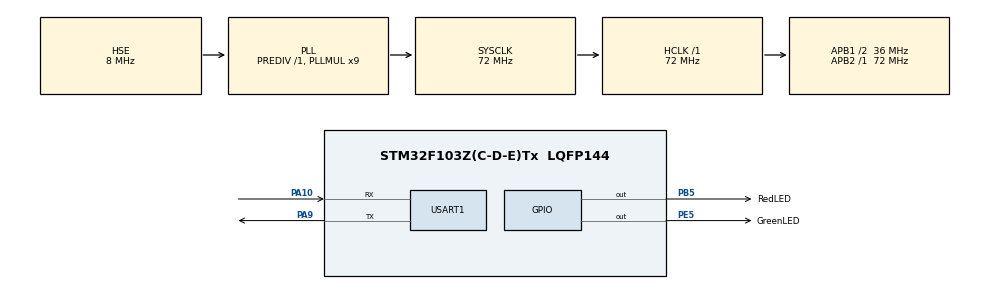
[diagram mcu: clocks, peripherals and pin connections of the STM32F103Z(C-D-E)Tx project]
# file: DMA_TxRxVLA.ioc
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Dma.Request0=USART1_TX
Dma.Request1=USART1_RX
Dma.USART1_RX.1.Direction=DMA_PERIPH_TO_MEMORY
Dma.USART1_RX.1.Instance=DMA1_Channel5
Dma.USART1_RX.1.MemDataAlignment=DMA_MDATAALIGN_BYTE
Dma.USART1_RX.1.MemInc=DMA_MINC_ENABLE
Dma.USART1_RX.1.Mode=DMA_NORMAL
Dma.USART1_RX.1.PeriphDataAlignment=DMA_PDATAALIGN_BYTE
Dma.USART1_RX.1.PeriphInc=DMA_PINC_DISABLE
Dma.USART1_RX.1.Priority=DMA_PRIORITY_LOW
Dma.USART1_TX.0.Direction=DMA_MEMORY_TO_PERIPH
Dma.USART1_TX.0.Instance=DMA1_Channel4
Dma.USART1_TX.0.MemDataAlignment=DMA_MDATAALIGN_BYTE
Dma.USART1_TX.0.MemInc=DMA_MINC_ENABLE
Dma.USART1_TX.0.Mode=DMA_NORMAL
Dma.USART1_TX.0.PeriphDataAlignment=DMA_PDATAALIGN_BYTE
Dma.USART1_TX.0.PeriphInc=DMA_PINC_DISABLE
Dma.USART1_TX.0.Priority=DMA_PRIORITY_LOW
Mcu.Family=STM32F1
Mcu.Name=STM32F103Z(C-D-E)Tx
Mcu.Package=LQFP144
NVIC.DMA1_Channel4_IRQn=true\:0\:0\:false\:false\:true\:false\:true\:true
NVIC.DMA1_Channel5_IRQn=true\:0\:0\:false\:false\:true\:false\:true\:true
NVIC.PriorityGroup=NVIC_PRIORITYGROUP_4
NVIC.USART1_IRQn=true\:0\:0\:false\:false\:true\:false\:true\:true
OSC_IN.Mode=HSE-External-Oscillator
OSC_IN.Signal=RCC_OSC_IN
OSC_OUT.Mode=HSE-External-Oscillator
OSC_OUT.Signal=RCC_OSC_OUT
PA10.Mode=Asynchronous
PA10.Signal=USART1_RX
PA13.Mode=Serial_Wire
PA13.Signal=SYS_JTMS-SWDIO
PA14.Mode=Serial_Wire
PA14.Signal=SYS_JTCK-SWCLK
PA9.Mode=Asynchronous
PA9.Signal=USART1_TX
PB5.GPIO_Label=RedLED
PB5.PinState=GPIO_PIN_SET
PB5.Signal=GPIO_Output
PE5.GPIO_Label=GreenLED
PE5.PinState=GPIO_PIN_SET
PE5.Signal=GPIO_Output
ProjectManager.HeapSize=0x200
ProjectManager.StackSize=0x400
ProjectManager.TargetToolchain=CMake
RCC.AHBFreq_Value=72000000
RCC.APB1CLKDivider=RCC_HCLK_DIV2
RCC.APB1Freq_Value=36000000
RCC.APB1TimFreq_Value=72000000
RCC.APB2Freq_Value=72000000
RCC.APB2TimFreq_Value=72000000
RCC.HCLKFreq_Value=72000000
RCC.PLLMUL=RCC_PLL_MUL9
RCC.PLLSourceVirtual=RCC_PLLSOURCE_HSE
RCC.SYSCLKFreq_VALUE=72000000
RCC.SYSCLKSource=RCC_SYSCLKSOURCE_PLLCLK
RCC.USBFreq_Value=72000000
USART1.VirtualMode=VM_ASYNC
board=custom

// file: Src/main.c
/* USER CODE BEGIN Header */
/**
 ******************************************************************************
 * @file           : main.c
 * @brief          : Main program body
 ******************************************************************************
 * @attention
 *
 * Copyright (c) 2025 STMicroelectronics.
 * All rights reserved.
 *
 * This software is licensed under terms that can be found in the LICENSE file
 * in the root directory of this software component.
 * If no LICENSE file comes with this software, it is provided AS-IS.
 *
 ******************************************************************************
 */
/* USER CODE END Header */
#include "main.h"

#include "dma.h"
#include "gpio.h"
#include "usart.h"

/* USER CODE BEGIN PM */
// Declare the DMA handle for USART1 RX
extern DMA_HandleTypeDef hdma_usart1_rx;
/* USER CODE END PM */

/* USER CODE BEGIN PV */
char msg[2];
uint8_t receiveData[100];
/* USER CODE END PV */

void SystemClock_Config(void);

/* USER CODE BEGIN 0 */
void HAL_UART_RxCpltCallback(UART_HandleTypeDef* huart) {
    if (huart->Instance == USART1) {
        HAL_UART_Transmit_DMA(&huart1, (uint8_t*) msg, sizeof(msg));
        // msg[0] = 'R' or 'G', msg[1] = '0' or '1'
        GPIO_PinState state = GPIO_PIN_RESET;
        if (msg[1] == '0') {
            state = GPIO_PIN_SET;
        }
        switch (msg[0]) {
            case 'R': HAL_GPIO_WritePin(RedLED_GPIO_Port, RedLED_Pin, state); break;
            case 'G': HAL_GPIO_WritePin(GreenLED_GPIO_Port, GreenLED_Pin, state); break;
            default: break;
        }
        HAL_UART_Receive_DMA(&huart1, (uint8_t*) msg, sizeof(msg));
    }
}

void HAL_UARTEx_RxEventCallback(UART_HandleTypeDef* huart, uint16_t Size) {
    if (huart == &huart1) {
        HAL_UART_Transmit_DMA(&huart1, receiveData, Size);

        HAL_UARTEx_ReceiveToIdle_DMA(&huart1, receiveData, sizeof(receiveData));

        // DMA 传输过半中断也会触发 RxEventCallback 回调函数
        // 可以考虑关闭 DMA 传输过半中断
        __HAL_DMA_DISABLE_IT(&hdma_usart1_rx, DMA_IT_HT);
    }
}
/* USER CODE END 0 */

int main(void) {

    /* MCU Configuration--------------------------------------------------------*/

    /* Reset of all peripherals, Initializes the Flash interface and the Systick. */
    HAL_Init();

    /* Configure the system clock */
    SystemClock_Config();

    /* Initialize all configured peripherals */
    MX_GPIO_Init();
    MX_DMA_Init();
    MX_USART1_UART_Init();
    /* USER CODE BEGIN 2 */
    // HAL_UART_Receive_DMA(&huart1, (uint8_t*) msg, sizeof(msg));
    HAL_UARTEx_ReceiveToIdle_DMA(&huart1, receiveData, sizeof(receiveData));
    __HAL_DMA_DISABLE_IT(&hdma_usart1_rx, DMA_IT_HT);
    /* USER CODE END 2 */

    /* Infinite loop */
    while (1) {

    }
}

void SystemClock_Config(void) {
    RCC_OscInitTypeDef RCC_OscInitStruct = {0};
    RCC_ClkInitTypeDef RCC_ClkInitStruct = {0};

    /** Initializes the RCC Oscillators according to the specified parameters
     * in the RCC_OscInitTypeDef structure.
     */
    RCC_OscInitStruct.OscillatorType = RCC_OSCILLATORTYPE_HSE;
    RCC_OscInitStruct.HSEState = RCC_HSE_ON;
    RCC_OscInitStruct.HSEPredivValue = RCC_HSE_PREDIV_DIV1;
    RCC_OscInitStruct.HSIState = RCC_HSI_ON;
    RCC_OscInitStruct.PLL.PLLState = RCC_PLL_ON;
    RCC_OscInitStruct.PLL.PLLSource = RCC_PLLSOURCE_HSE;
    RCC_OscInitStruct.PLL.PLLMUL = RCC_PLL_MUL9;
    if (HAL_RCC_OscConfig(&RCC_OscInitStruct) != HAL_OK) {
        Error_Handler();
    }

    /** Initializes the CPU, AHB and APB buses clocks
     */
    RCC_ClkInitStruct.ClockType = RCC_CLOCKTYPE_HCLK | RCC_CLOCKTYPE_SYSCLK | RCC_CLOCKTYPE_PCLK1 | RCC_CLOCKTYPE_PCLK2;
    RCC_ClkInitStruct.SYSCLKSource = RCC_SYSCLKSOURCE_PLLCLK;
    RCC_ClkInitStruct.AHBCLKDivider = RCC_SYSCLK_DIV1;
    RCC_ClkInitStruct.APB1CLKDivider = RCC_HCLK_DIV2;
    RCC_ClkInitStruct.APB2CLKDivider = RCC_HCLK_DIV1;

    if (HAL_RCC_ClockConfig(&RCC_ClkInitStruct, FLASH_LATENCY_2) != HAL_OK) {
        Error_Handler();
    }
}

void Error_Handler(void) {
    __disable_irq();
    while (1) {}
}

#ifdef USE_FULL_ASSERT
/**
 * @brief  Reports the name of the source file and the source line number
 *         where the assert_param error has occurred.
 * @param  file: pointer to the source file name
 * @param  line: assert_param error line source number
 * @retval None
 */
void assert_failed(uint8_t* file, uint32_t line) {
    /* USER CODE BEGIN 6 */
    /* User can add his own implementation to report the file name and line
       number, ex: printf("Wrong parameters value: file %s on line %d\r\n", file,
       line) */
    /* USER CODE END 6 */
}
#endif /* USE_FULL_ASSERT */
